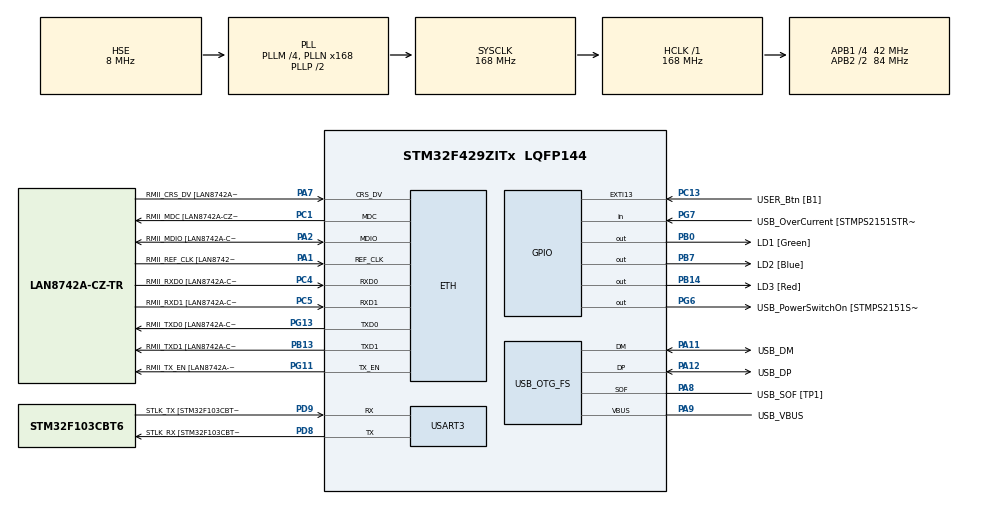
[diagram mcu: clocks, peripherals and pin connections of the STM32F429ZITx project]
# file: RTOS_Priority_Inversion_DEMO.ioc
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ETH.MediaInterface=HAL_ETH_RMII_MODE
ETH.PHY_Name=LAN8742A_PHY_ADDRESS
ETH.PHY_Value=0
ETH.PhyAddress=0
FREERTOS.BinarySemaphores01=myBinarySem01,Dynamic,NULL
FREERTOS.Tasks01=TaskA,8,128,StartTaskA,Default,NULL,Dynamic,NULL,NULL;TaskB,40,128,StartTaskB,Default,NULL,Dynamic,NULL,NULL;TaskC,8,128,StartTaskC,Default,NULL,Dynamic,NULL,NULL
FREERTOS.configGENERATE_RUN_TIME_STATS=1
FREERTOS.configRECORD_STACK_HIGH_ADDRESS=1
FREERTOS.configUSE_NEWLIB_REENTRANT=1
FREERTOS.configUSE_STATS_FORMATTING_FUNCTIONS=1
Mcu.Family=STM32F4
Mcu.Name=STM32F429ZITx
Mcu.Package=LQFP144
NVIC.EXTI15_10_IRQn=true\:5\:0\:false\:false\:true\:true\:true\:true\:true
NVIC.PriorityGroup=NVIC_PRIORITYGROUP_4
NVIC.TIM2_IRQn=true\:15\:0\:false\:false\:true\:false\:false\:true\:true
NVIC.TimeBase=TIM2_IRQn
NVIC.TimeBaseIP=TIM2
PA1.GPIO_Label=RMII_REF_CLK [LAN8742A-CZ-TR_REFCLK0]
PA1.Mode=RMII
PA1.Signal=ETH_REF_CLK
PA10.GPIO_Label=USB_ID
PA10.Signal=USB_OTG_FS_ID
PA11.GPIO_Label=USB_DM
PA11.Mode=Device_Only
PA11.Signal=USB_OTG_FS_DM
PA12.GPIO_Label=USB_DP
PA12.Mode=Device_Only
PA12.Signal=USB_OTG_FS_DP
PA13.GPIO_Label=TMS
PA13.Mode=Serial_Wire
PA13.Signal=SYS_JTMS-SWDIO
PA14.GPIO_Label=TCK
PA14.Mode=Serial_Wire
PA14.Signal=SYS_JTCK-SWCLK
PA2.GPIO_Label=RMII_MDIO [LAN8742A-CZ-TR_MDIO]
PA2.Mode=RMII
PA2.Signal=ETH_MDIO
PA7.GPIO_Label=RMII_CRS_DV [LAN8742A-CZ-TR_CRS_DV]
PA7.Mode=RMII
PA7.Signal=ETH_CRS_DV
PA8.GPIO_Label=USB_SOF [TP1]
PA8.Mode=Activate_SOF_FS
PA8.Signal=USB_OTG_FS_SOF
PA9.GPIO_Label=USB_VBUS
PA9.Mode=Activate_VBUS
PA9.Signal=USB_OTG_FS_VBUS
PB0.GPIO_Label=LD1 [Green]
PB0.Signal=GPIO_Output
PB13.GPIO_Label=RMII_TXD1 [LAN8742A-CZ-TR_TXD1]
PB13.Mode=RMII
PB13.Signal=ETH_TXD1
PB14.GPIO_Label=LD3 [Red]
PB14.Signal=GPIO_Output
PB7.GPIO_Label=LD2 [Blue]
PB7.Signal=GPIO_Output
PC1.GPIO_Label=RMII_MDC [LAN8742A-CZ-TR_MDC]
PC1.Mode=RMII
PC1.Signal=ETH_MDC
PC13.GPIO_Label=USER_Btn [B1]
PC13.Signal=GPXTI13
PC14/OSC32_IN.Mode=LSE-External-Oscillator
PC14/OSC32_IN.Signal=RCC_OSC32_IN
PC15/OSC32_OUT.Mode=LSE-External-Oscillator
PC15/OSC32_OUT.Signal=RCC_OSC32_OUT
PC4.GPIO_Label=RMII_RXD0 [LAN8742A-CZ-TR_RXD0]
PC4.Mode=RMII
PC4.Signal=ETH_RXD0
PC5.GPIO_Label=RMII_RXD1 [LAN8742A-CZ-TR_RXD1]
PC5.Mode=RMII
PC5.Signal=ETH_RXD1
PD8.GPIO_Label=STLK_RX [STM32F103CBT6_PA3]
PD8.Mode=Asynchronous
PD8.Signal=USART3_TX
PD9.GPIO_Label=STLK_TX [STM32F103CBT6_PA2]
PD9.Mode=Asynchronous
PD9.Signal=USART3_RX
PG11.GPIO_Label=RMII_TX_EN [LAN8742A-CZ-TR_TXEN]
PG11.Mode=RMII
PG11.Signal=ETH_TX_EN
PG13.GPIO_Label=RMII_TXD0 [LAN8742A-CZ-TR_TXD0]
PG13.Mode=RMII
PG13.Signal=ETH_TXD0
PG6.GPIO_Label=USB_PowerSwitchOn [STMPS2151STR_EN]
PG6.Signal=GPIO_Output
PG7.GPIO_Label=USB_OverCurrent [STMPS2151STR_FAULT]
PG7.Signal=GPIO_Input
PH0/OSC_IN.GPIO_Label=MCO [STM32F103CBT6_PA8]
PH0/OSC_IN.Mode=HSE-External-Clock-Source
PH0/OSC_IN.Signal=RCC_OSC_IN
PH1/OSC_OUT.Mode=HSE-External-Clock-Source
PH1/OSC_OUT.Signal=RCC_OSC_OUT
ProjectManager.HeapSize=0x200
ProjectManager.StackSize=0x400
ProjectManager.TargetToolchain=STM32CubeIDE
RCC.48MHZClocksFreq_Value=48000000
RCC.AHBFreq_Value=168000000
RCC.APB1CLKDivider=RCC_HCLK_DIV4
RCC.APB1Freq_Value=42000000
RCC.APB1TimFreq_Value=84000000
RCC.APB2CLKDivider=RCC_HCLK_DIV2
RCC.APB2Freq_Value=84000000
RCC.APB2TimCLKDivider=2
RCC.APB2TimFreq_Value=168000000
RCC.CortexFreq_Value=168000000
RCC.HCLKFreq_Value=168000000
RCC.HSE_VALUE=8000000
RCC.HSI_VALUE=16000000
RCC.PLLM=4
RCC.PLLMUL=RCC_PLL_MUL9
RCC.PLLN=168
RCC.PLLQ=7
RCC.PRESCALERUSB=RCC_USBCLKSOURCE_PLL_DIV1_5
RCC.SYSCLKFreq_VALUE=168000000
RCC.SYSCLKSource=RCC_SYSCLKSOURCE_PLLCLK
RCC.SYSCLKSourceVirtual=RCC_SYSCLKSOURCE_PLLCLK
RCC.USBFreq_Value=48000000
RCC.VCOOutputFreq_Value=336000000
USART3.VirtualMode=VM_ASYNC
USB_OTG_FS.VirtualMode=Device_Only
VP_FREERTOS_VS_CMSIS_V2.Mode=CMSIS_V2
VP_RNG_VS_RNG.Mode=RNG_Activate
VP_SYS_VS_tim2.Mode=TIM2
board=NUCLEO-F429ZI

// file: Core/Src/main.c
/* USER CODE BEGIN Header */
/**
  ******************************************************************************
  * @file           : main.c
  * @brief          : Main program body
  ******************************************************************************
  * @attention
  *
  * Copyright (c) 2025 STMicroelectronics.
  * All rights reserved.
  *
  * This software is licensed under terms that can be found in the LICENSE file
  * in the root directory of this software component.
  * If no LICENSE file comes with this software, it is provided AS-IS.
  *
  ******************************************************************************
  */
/* USER CODE END Header */
#include "main.h"
#include "string.h"
#include "cmsis_os.h"

/* USER CODE BEGIN Includes */
#include <SEGGER_SYSVIEW.h>
/* USER CODE END Includes */

ETH_TxPacketConfig TxConfig;
ETH_DMADescTypeDef  DMARxDscrTab[ETH_RX_DESC_CNT]; /* Ethernet Rx DMA Descriptors */
ETH_DMADescTypeDef  DMATxDscrTab[ETH_TX_DESC_CNT]; /* Ethernet Tx DMA Descriptors */

ETH_HandleTypeDef heth;

RNG_HandleTypeDef hrng;

UART_HandleTypeDef huart3;

PCD_HandleTypeDef hpcd_USB_OTG_FS;

/* Definitions for TaskA */
osThreadId_t TaskAHandle;
const osThreadAttr_t TaskA_attributes = {
  .name = "TaskA",
  .stack_size = 128 * 4,
  .priority = (osPriority_t) osPriorityLow,
};
/* Definitions for TaskB */
osThreadId_t TaskBHandle;
const osThreadAttr_t TaskB_attributes = {
  .name = "TaskB",
  .stack_size = 128 * 4,
  .priority = (osPriority_t) osPriorityHigh,
};
/* Definitions for TaskC */
osThreadId_t TaskCHandle;
const osThreadAttr_t TaskC_attributes = {
  .name = "TaskC",
  .stack_size = 128 * 4,
  .priority = (osPriority_t) osPriorityLow,
};
/* Definitions for myBinarySem01 */
osSemaphoreId_t myBinarySem01Handle;
const osSemaphoreAttr_t myBinarySem01_attributes = {
  .name = "myBinarySem01"
};

void SystemClock_Config(void);
static void MX_GPIO_Init(void);
static void MX_ETH_Init(void);
static void MX_USART3_UART_Init(void);
static void MX_USB_OTG_FS_PCD_Init(void);
static void MX_RNG_Init(void);
void StartTaskA(void *argument);
void StartTaskB(void *argument);
void StartTaskC(void *argument);

int main(void)
{

  /* MCU Configuration--------------------------------------------------------*/

  /* Reset of all peripherals, Initializes the Flash interface and the Systick. */
  HAL_Init();

  /* Configure the system clock */
  SystemClock_Config();

  /* Initialize all configured peripherals */
  MX_GPIO_Init();
  MX_ETH_Init();
  MX_USART3_UART_Init();
  MX_USB_OTG_FS_PCD_Init();
  MX_RNG_Init();

  /* Init scheduler */
  osKernelInitialize();

  /* Create the semaphores(s) */
  /* creation of myBinarySem01 */
  myBinarySem01Handle = osSemaphoreNew(1, 1, &myBinarySem01_attributes);

  /* Create the thread(s) */
  /* creation of TaskA */
  TaskAHandle = osThreadNew(StartTaskA, NULL, &TaskA_attributes);

  /* creation of TaskB */
  TaskBHandle = osThreadNew(StartTaskB, NULL, &TaskB_attributes);

  /* creation of TaskC */
  TaskCHandle = osThreadNew(StartTaskC, NULL, &TaskC_attributes);

  /* USER CODE BEGIN RTOS_EVENTS */
  /* add events, ... */
  SEGGER_SYSVIEW_Conf();
  /* USER CODE END RTOS_EVENTS */

  /* Start scheduler */
  osKernelStart();

  /* We should never get here as control is now taken by the scheduler */
  /* Infinite loop */
  while (1)
  {

  }
}

void SystemClock_Config(void)
{
  RCC_OscInitTypeDef RCC_OscInitStruct = {0};
  RCC_ClkInitTypeDef RCC_ClkInitStruct = {0};

  /** Configure the main internal regulator output voltage
  */
  __HAL_RCC_PWR_CLK_ENABLE();
  __HAL_PWR_VOLTAGESCALING_CONFIG(PWR_REGULATOR_VOLTAGE_SCALE1);

  /** Initializes the RCC Oscillators according to the specified parameters
  * in the RCC_OscInitTypeDef structure.
  */
  RCC_OscInitStruct.OscillatorType = RCC_OSCILLATORTYPE_HSE;
  RCC_OscInitStruct.HSEState = RCC_HSE_BYPASS;
  RCC_OscInitStruct.PLL.PLLState = RCC_PLL_ON;
  RCC_OscInitStruct.PLL.PLLSource = RCC_PLLSOURCE_HSE;
  RCC_OscInitStruct.PLL.PLLM = 4;
  RCC_OscInitStruct.PLL.PLLN = 168;
  RCC_OscInitStruct.PLL.PLLP = RCC_PLLP_DIV2;
  RCC_OscInitStruct.PLL.PLLQ = 7;
  if (HAL_RCC_OscConfig(&RCC_OscInitStruct) != HAL_OK)
  {
    Error_Handler();
  }

  /** Initializes the CPU, AHB and APB buses clocks
  */
  RCC_ClkInitStruct.ClockType = RCC_CLOCKTYPE_HCLK|RCC_CLOCKTYPE_SYSCLK
                              |RCC_CLOCKTYPE_PCLK1|RCC_CLOCKTYPE_PCLK2;
  RCC_ClkInitStruct.SYSCLKSource = RCC_SYSCLKSOURCE_PLLCLK;
  RCC_ClkInitStruct.AHBCLKDivider = RCC_SYSCLK_DIV1;
  RCC_ClkInitStruct.APB1CLKDivider = RCC_HCLK_DIV4;
  RCC_ClkInitStruct.APB2CLKDivider = RCC_HCLK_DIV2;

  if (HAL_RCC_ClockConfig(&RCC_ClkInitStruct, FLASH_LATENCY_5) != HAL_OK)
  {
    Error_Handler();
  }
}

static void MX_ETH_Init(void)
{

   static uint8_t MACAddr[6];

  heth.Instance = ETH;
  MACAddr[0] = 0x00;
  MACAddr[1] = 0x80;
  MACAddr[2] = 0xE1;
  MACAddr[3] = 0x00;
  MACAddr[4] = 0x00;
  MACAddr[5] = 0x00;
  heth.Init.MACAddr = &MACAddr[0];
  heth.Init.MediaInterface = HAL_ETH_RMII_MODE;
  heth.Init.TxDesc = DMATxDscrTab;
  heth.Init.RxDesc = DMARxDscrTab;
  heth.Init.RxBuffLen = 1524;

  if (HAL_ETH_Init(&heth) != HAL_OK)
  {
    Error_Handler();
  }

  memset(&TxConfig, 0 , sizeof(ETH_TxPacketConfig));
  TxConfig.Attributes = ETH_TX_PACKETS_FEATURES_CSUM | ETH_TX_PACKETS_FEATURES_CRCPAD;
  TxConfig.ChecksumCtrl = ETH_CHECKSUM_IPHDR_PAYLOAD_INSERT_PHDR_CALC;
  TxConfig.CRCPadCtrl = ETH_CRC_PAD_INSERT;

}

static void MX_RNG_Init(void)
{

  hrng.Instance = RNG;
  if (HAL_RNG_Init(&hrng) != HAL_OK)
  {
    Error_Handler();
  }

}

static void MX_USART3_UART_Init(void)
{

  huart3.Instance = USART3;
  huart3.Init.BaudRate = 115200;
  huart3.Init.WordLength = UART_WORDLENGTH_8B;
  huart3.Init.StopBits = UART_STOPBITS_1;
  huart3.Init.Parity = UART_PARITY_NONE;
  huart3.Init.Mode = UART_MODE_TX_RX;
  huart3.Init.HwFlowCtl = UART_HWCONTROL_NONE;
  huart3.Init.OverSampling = UART_OVERSAMPLING_16;
  if (HAL_UART_Init(&huart3) != HAL_OK)
  {
    Error_Handler();
  }

}

static void MX_USB_OTG_FS_PCD_Init(void)
{

  hpcd_USB_OTG_FS.Instance = USB_OTG_FS;
  hpcd_USB_OTG_FS.Init.dev_endpoints = 4;
  hpcd_USB_OTG_FS.Init.speed = PCD_SPEED_FULL;
  hpcd_USB_OTG_FS.Init.dma_enable = DISABLE;
  hpcd_USB_OTG_FS.Init.phy_itface = PCD_PHY_EMBEDDED;
  hpcd_USB_OTG_FS.Init.Sof_enable = ENABLE;
  hpcd_USB_OTG_FS.Init.low_power_enable = DISABLE;
  hpcd_USB_OTG_FS.Init.lpm_enable = DISABLE;
  hpcd_USB_OTG_FS.Init.vbus_sensing_enable = ENABLE;
  hpcd_USB_OTG_FS.Init.use_dedicated_ep1 = DISABLE;
  if (HAL_PCD_Init(&hpcd_USB_OTG_FS) != HAL_OK)
  {
    Error_Handler();
  }

}

static void MX_GPIO_Init(void)
{
  GPIO_InitTypeDef GPIO_InitStruct = {0};

  /* GPIO Ports Clock Enable */
  __HAL_RCC_GPIOC_CLK_ENABLE();
  __HAL_RCC_GPIOH_CLK_ENABLE();
  __HAL_RCC_GPIOA_CLK_ENABLE();
  __HAL_RCC_GPIOB_CLK_ENABLE();
  __HAL_RCC_GPIOD_CLK_ENABLE();
  __HAL_RCC_GPIOG_CLK_ENABLE();

  /*Configure GPIO pin Output Level */
  HAL_GPIO_WritePin(GPIOB, LD1_Pin|LD3_Pin|LD2_Pin, GPIO_PIN_RESET);

  /*Configure GPIO pin Output Level */
  HAL_GPIO_WritePin(USB_PowerSwitchOn_GPIO_Port, USB_PowerSwitchOn_Pin, GPIO_PIN_RESET);

  /*Configure GPIO pin : USER_Btn_Pin */
  GPIO_InitStruct.Pin = USER_Btn_Pin;
  GPIO_InitStruct.Mode = GPIO_MODE_IT_RISING;
  GPIO_InitStruct.Pull = GPIO_NOPULL;
  HAL_GPIO_Init(USER_Btn_GPIO_Port, &GPIO_InitStruct);

  /*Configure GPIO pins : LD1_Pin LD3_Pin LD2_Pin */
  GPIO_InitStruct.Pin = LD1_Pin|LD3_Pin|LD2_Pin;
  GPIO_InitStruct.Mode = GPIO_MODE_OUTPUT_PP;
  GPIO_InitStruct.Pull = GPIO_NOPULL;
  GPIO_InitStruct.Speed = GPIO_SPEED_FREQ_LOW;
  HAL_GPIO_Init(GPIOB, &GPIO_InitStruct);

  /*Configure GPIO pin : USB_PowerSwitchOn_Pin */
  GPIO_InitStruct.Pin = USB_PowerSwitchOn_Pin;
  GPIO_InitStruct.Mode = GPIO_MODE_OUTPUT_PP;
  GPIO_InitStruct.Pull = GPIO_NOPULL;
  GPIO_InitStruct.Speed = GPIO_SPEED_FREQ_LOW;
  HAL_GPIO_Init(USB_PowerSwitchOn_GPIO_Port, &GPIO_InitStruct);

  /*Configure GPIO pin : USB_OverCurrent_Pin */
  GPIO_InitStruct.Pin = USB_OverCurrent_Pin;
  GPIO_InitStruct.Mode = GPIO_MODE_INPUT;
  GPIO_InitStruct.Pull = GPIO_NOPULL;
  HAL_GPIO_Init(USB_OverCurrent_GPIO_Port, &GPIO_InitStruct);

  /* EXTI interrupt init*/
  HAL_NVIC_SetPriority(EXTI15_10_IRQn, 5, 0);
  HAL_NVIC_EnableIRQ(EXTI15_10_IRQn);

}

/* USER CODE BEGIN 4 */
void HAL_GPIO_EXTI_Callback(uint16_t GPIO_Pin)
{
  if (GPIO_Pin == GPIO_PIN_13) // PA0 = Blue user button on NUCLEO-F429ZI
  {
		if (osSemaphoreRelease(myBinarySem01Handle) == osOK)
			SEGGER_SYSVIEW_PrintfHost("Semaphore released.\n\r");
  }
}

void BlinkThreeTimes(uint16_t GPIO_Pin){
	if (GPIO_Pin == GPIO_PIN_0 || GPIO_Pin == GPIO_PIN_7 || GPIO_Pin == GPIO_PIN_14){  // check if LED pin
		for (int i=0; i<8; i++){	// BLINK 4 TIMES
			HAL_GPIO_TogglePin(GPIOB, GPIO_Pin);
			osDelay(250);
		}
	}
}
/* USER CODE END 4 */

void StartTaskA(void *argument)
{
  /* USER CODE BEGIN 5 */
	/* Infinite loop */
	for(;;)
	{
		SEGGER_SYSVIEW_PrintfHost("TaskA\n\r");
		if (osSemaphoreAcquire(myBinarySem01Handle, 1000) == osOK){
			SEGGER_SYSVIEW_PrintfHost("TaskA acquired semaphore.\n\r");
			BlinkThreeTimes(GPIO_PIN_7);	// BLINK BLUE LED
			if (osSemaphoreRelease(myBinarySem01Handle) == osOK)
				SEGGER_SYSVIEW_PrintfHost("TaskA released released semaphore.\n\r");
		}
		else SEGGER_SYSVIEW_PrintfHost("TaskA failed to acquire semaphore.\n\r");
		osDelay(1);
	}
  /* USER CODE END 5 */
}

void StartTaskB(void *argument)
{
  /* USER CODE BEGIN StartTaskB */
	/* Infinite loop */
	for(;;)
	{
		SEGGER_SYSVIEW_PrintfHost("TaskB\n\r");
		if (osSemaphoreAcquire(myBinarySem01Handle, 1000) == osOK){
			SEGGER_SYSVIEW_PrintfHost("TaskB acquired semaphore.\n\r");
			BlinkThreeTimes(GPIO_PIN_0);	// BLINK GREEN LED
			if (osSemaphoreRelease(myBinarySem01Handle) == osOK)
				SEGGER_SYSVIEW_PrintfHost("TaskB released released semaphore.\n\r");
		}
		else SEGGER_SYSVIEW_PrintfHost("TaskB failed to acquire semaphore.\n\r");
		osDelay(1);
	}
  /* USER CODE END StartTaskB */
}

void StartTaskC(void *argument)
{
  /* USER CODE BEGIN StartTaskC */
	/* Infinite loop */
	for(;;)
	{
		SEGGER_SYSVIEW_PrintfHost("TaskC\n\r");
		uint32_t rnd;
	    HAL_RNG_GenerateRandomNumber(&hrng, &rnd);
	    uint32_t delay = (rnd % 4000) + 1000;	// 1000-2999ms
	    osDelay(delay);
	}
  /* USER CODE END StartTaskC */
}

void HAL_TIM_PeriodElapsedCallback(TIM_HandleTypeDef *htim)
{
  if (htim->Instance == TIM2) {
    HAL_IncTick();
  }
}

void Error_Handler(void)
{
  __disable_irq();
  while (1)
  {
  }
}
